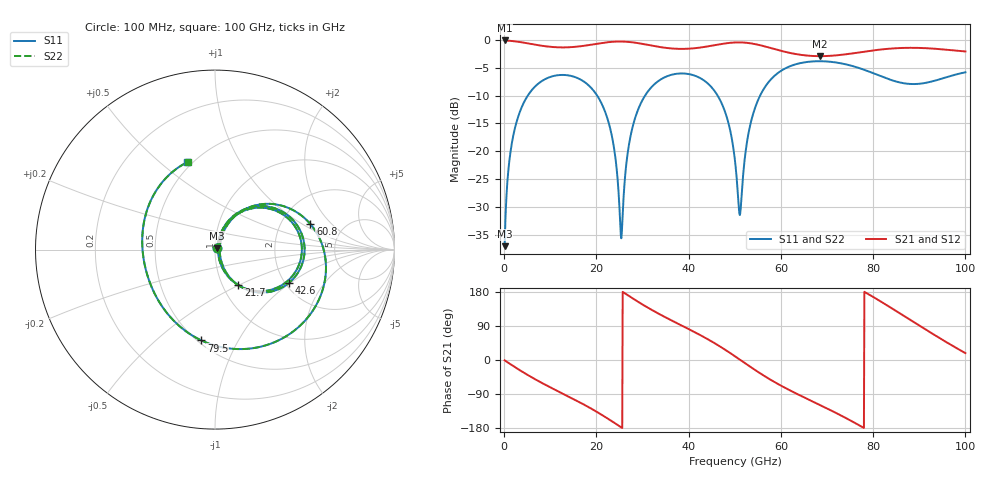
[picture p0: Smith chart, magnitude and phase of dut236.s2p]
! Touchstone file exported from HFSS 2026.1.0
!  File:  C:/ffzhzh/LocalFiles/Ansys_Project_Files/temp_train_TSV_RDL_236_1783666230_33328.aedt
!  Generated:  02:59:05 PM Jul 10, 2026
!  Design:  TSV_RDL
!  Project:  temp_train_TSV_RDL_236_1783666230_33328
! Variables:
!  h_bsmrdl = 2.35um
!  h_ox = 20um
!  h_rdl = 5um
!  h_sub = 88.48um
!  h_tmrdl = 3.51um
!  h_tsv = 88.48um
!  h_via = 3um
!  l_bsmrdl = 388.77um
!  l_sub = 2186.66um
!  l_tmrdl = 120.1um
!  m_sub = 200um
!  pitch = 50.85um
!  r_tsv = 9.04um
!  s_tmrdl = 10um
!  w_bsmrdl = 22.02um
!  w_sub = 500um
!  w_tmrdl = 24.63um
!  x_tsv_center1 = 132.415um
!  x_tsv_center2 = 543.205um
!  x_tsv_center3 = 687.935um
!  x_tsv_center4 = 1098.725um
!  x_tsv_center5 = 1243.455um
!  x_tsv_center6 = 1654.245um
# GHz S MA R 50.000000
! Terminal data exported
! Port[1] = TM_RDL1_1_T1
! Port[2] = TM_RDL5_1_T1
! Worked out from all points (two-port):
!   1000 points, 100 MHz to 100 GHz, reference 50 ohm
!   highest |S21| = -0.10 dB at 100 MHz (marker M1); lowest = -2.9 dB at 68.5 GHz (marker M2)
!   |S21| within 3 dB of the highest: start of sweep to end of sweep
!   lowest |S11| = -37.1 dB at 100 MHz (marker M3), VSWR 1.03, Z = 51.2 + j0.776 ohm
!   |S11| at or under -10 dB: start of sweep to 5.14 GHz; 20.15 GHz to 30.56 GHz (10.41 GHz wide, 41.1 % of centre); 46.27 GHz to 55.5 GHz (9.236 GHz wide, 18.2 % of centre)
!   |S22| runs from -37.1 to -3.8 dB; largest |S21 - S12| = 2.5e-14
!   S11 on the Smith chart (normalised r, x): 100 MHz: 1.02, +0.02; 21.7 GHz: 1.19, -0.50; 42.6 GHz: 2.09, -0.98; 60.8 GHz: 2.91, +1.19; 79.5 GHz: 0.52, -0.72; 100 GHz: 0.47, +0.62
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0.1  0.01398 32.9  0.9883 -0.9  0.9883 -0.9  0.01398 32.9
! Gamma 0 0 0 0
! Port Impedance 50 0 50 0
1.6  0.1132 69.1  0.9781 -13.0  0.9781 -13.0  0.1132 69.1
4.4  0.2799 52.0  0.9423 -34.4  0.9423 -34.4  0.2799 52.0
11  0.4765 9.9  0.8601 -78.3  0.8601 -78.3  0.4766 9.9
16.8  0.4346 -24.9  0.8794 -114.3  0.8794 -114.3  0.4346 -24.9
21.7  0.2365 -56.8  0.9441 -148.7  0.9441 -148.7  0.2366 -56.9
23.8  0.1081 -68.0  0.9632 -165.1  0.9632 -165.1  0.1081 -68.2
25.4  0.01645 4.6  0.9665 -177.8  0.9665 -177.8  0.016 4.5
28  0.1743 65.2  0.9486 161.6  0.9486 161.6  0.1742 65.3
33.4  0.4258 30.5  0.8676 122.8  0.8676 122.8  0.4257 30.5
42.6  0.4513 -24.4  0.8541 65.2  0.8541 65.2  0.4513 -24.4
47.5  0.2491 -55.6  0.9239 30.3  0.9239 30.3  0.2491 -55.6
50.1  0.07831 -62.3  0.9481 9.4  0.9481 9.4  0.07824 -62.5
51.2  0.02788 16.4  0.9492 0.2  0.9492 0.2  0.02757 16.6
54.3  0.2382 57.3  0.9182 -25.6  0.9182 -25.6  0.2381 57.4
60.8  0.5501 15.0  0.783 -72.7  0.783 -72.7  0.55 15.0
66.7  0.6394 -19.2  0.7175 -108.4  0.7175 -108.4  0.6393 -19.2
68.5  0.643 -29.4  0.7141 -119.0  0.7141 -119.0  0.6429 -29.4
79.5  0.5116 -98.6  0.7986 170.0  0.7986 170.0  0.5114 -98.6
83.4  0.4432 -127.2  0.8326 141.3  0.8326 141.3  0.443 -127.3
91  0.4083 173.5  0.8439 83.4  0.8439 83.4  0.4082 173.3
100  0.5113 107.5  0.7872 18.1  0.7872 18.1  0.5113 107.3
